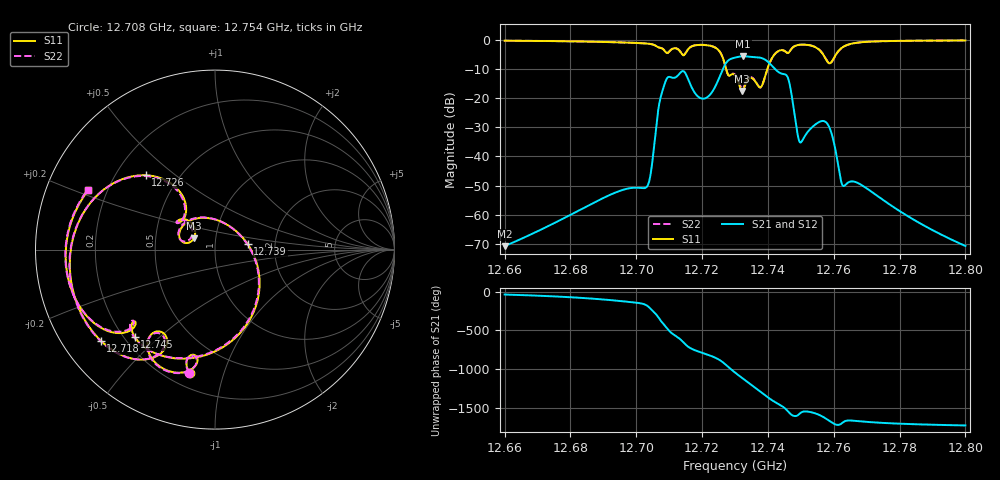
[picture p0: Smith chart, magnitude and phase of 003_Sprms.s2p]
! TOUCHSTONE file generated by CST MICROWAVE STUDIO
! Date and time: Wed Jul 31 10:43:50 2024
! Project name: WaveGuide_BPF-Ver4.1_U-shape_Ku_T3_C4_CWA_2.cst
! Parameters = {cavity_h=16; cavity_l0=10; cavity_l1=15.2298; cavity_l2=16.8192; cavity_l3=17.0717; cavity_l4=17.2862; cavity_l5=17.136; cavity_l6=17.6114; cavity_r=2.5; cavity_screw_l=0.5; cavity_screw_r=1.5; cavity_w=8; iris_h00=0; iris_h01=8.8359; iris_h112=0; iris_h12=5.6023; iris_h211=3.6569; i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
! Header version: 2018
! Port assignment regex: !\s*Touchstone port\s*([0-9]+)\s*=\s*(CST MWS port|CST DS port)\s*([0-9]+|Zmin|Zmax)\s*\(\"(.*)\"\)(\s*mode\s*([0-9]+))?.*
! Touchstone port assignment:
! Touchstone port 1 = CST MWS port 1 ("")
! Touchstone port 2 = CST MWS port 2 ("")
# GHz S RI R 50
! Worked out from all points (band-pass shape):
!   5001 points, 12.66 GHz to 12.8 GHz, reference 50 ohm
!   highest |S21| = -5.58 dB at 12.733 GHz (marker M1); lowest = -70.8 dB at 12.66 GHz (marker M2)
!   |S21| within 3 dB of the highest: 12.72692 GHz to 12.74101 GHz (14.09 MHz wide, 0.111 % of centre)
!   lowest |S11| = -17.5 dB at 12.732 GHz (marker M3), VSWR 1.31, Z = 39.2 + j5.02 ohm
!   |S11| at or under -10 dB: 12.7273 GHz to 12.73982 GHz (12.51 MHz wide, 0.0983 % of centre)
!   |S22| runs from -16.5 to -0.1 dB; largest |S21 - S12| = 1e-09
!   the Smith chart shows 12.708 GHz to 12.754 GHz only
!   S11 on the Smith chart (normalised r, x): 12.708 GHz: 0.29, -0.77; 12.718 GHz: 0.12, -0.35; 12.726 GHz: 0.32, +0.40; 12.739 GHz: 1.45, +0.09; 12.745 GHz: 0.24, -0.42; 12.754 GHz: 0.13, +0.22
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12.66  0.4981 0.8382  0.000236 -0.000164  0.000236 -0.000164  0.503 0.8352
12.68335  0.9039 0.2755  0.000255 -0.00122  0.000255 -0.00122  0.9063 0.2672
12.70315  0.3222 -0.809  -0.00297 -0.000261  -0.00297 -0.000261  0.3141 -0.8127
12.70668  -0.0361 -0.7515  0.0529 0.0341  0.0529 0.0341  -0.0405 -0.7502
12.70813  -0.1408 -0.6856  0.0942 -0.1093  0.0942 -0.1093  -0.1423 -0.6877
12.71382  -0.3463 -0.4652  0.00524 0.2881  0.00524 0.2881  -0.3512 -0.4741
12.71804  -0.6358 -0.5077  0.0919 -0.0745  0.0919 -0.0745  -0.6412 -0.5057
12.72586  -0.3863 0.4141  -0.2748 -0.0141  -0.2748 -0.0141  -0.3944 0.4101
12.73  -0.1811 0.1703  0.4024 0.2948  0.4024 0.2948  -0.194 0.1651
12.73216  -0.1179 0.063  0.4334 -0.2973  0.4334 -0.2973  -0.1321 0.0692
12.73252  -0.1327 0.0457  0.3633 -0.3806  0.3633 -0.3806  -0.1452 0.0532
12.73605  -0.0933 0.1751  -0.4735 -0.1898  -0.4735 -0.1898  -0.0986 0.1774
12.73854  0.1831 0.0292  -0.2487 0.4097  -0.2487 0.4097  0.1782 0.0327
12.74478  -0.4464 -0.4873  0.1554 -0.209  0.1554 -0.209  -0.4544 -0.4824
12.74963  -0.7932 -0.2404  -0.0131 -0.0121  -0.0131 -0.0121  -0.798 -0.23
12.75335  -0.7513 0.2634  -0.0156 -0.0274  -0.0156 -0.0274  -0.7521 0.2692
12.75383  -0.707 0.3295  -0.0192 -0.0272  -0.0192 -0.0272  -0.708 0.3345
12.75685  -0.0788 0.5503  -0.0407 -3.31e-05  -0.0407 -3.31e-05  -0.0879 0.5564
12.75932  0.4055 -0.1038  -0.00897 0.0233  -0.00897 0.0233  0.4064 -0.0864
12.76282  -0.2535 -0.716  -0.00119 0.00288  -0.00119 0.00288  -0.2491 -0.7138
12.77668  -0.9574 -0.0832  -0.000276 0.00151  -0.000276 0.00151  -0.9579 -0.0778
12.8  -0.9119 0.3693  9.28e-05 0.000274  9.28e-05 0.000274  -0.9102 0.3736
